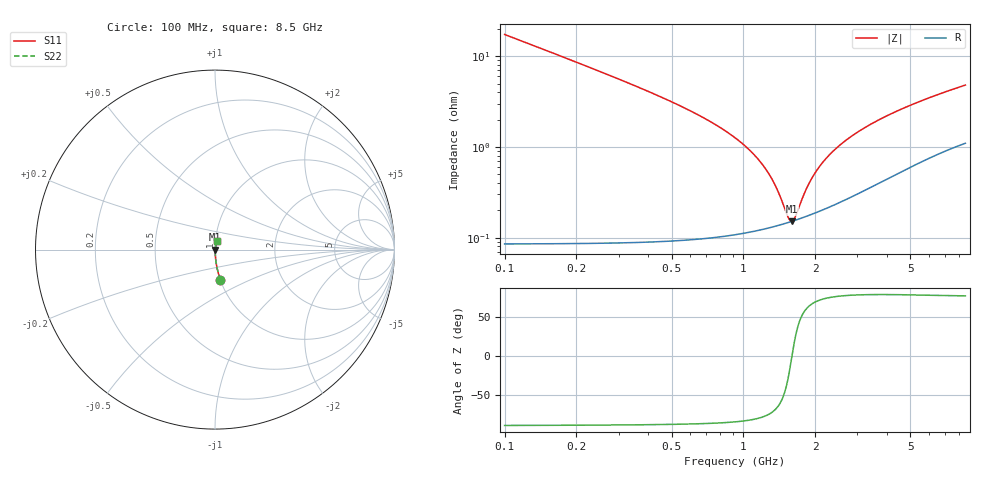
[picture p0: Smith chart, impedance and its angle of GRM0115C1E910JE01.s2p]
!Murata Part Number: GRM0115C1E910JE01
!These Parameters are Measured in Series Mode Connection
!Data Generated on Mar 30, 2021
!  o--ll--o
!Port1  Port2
!  o------o
!Operation Temp=25[degC], DC Bias Voltage=0[V]
!Freq. Start=100[MHz] Stop=9[GHz] 401[Steps]
# Hz S RI R 50
!Freq.(Hz) S11(Real) S11(Imag) S21(Real) S21(Imag) S12(Real) S12(Imag) S22(Real) S22(Imag)
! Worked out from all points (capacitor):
!   401 points, 100 MHz to 8.5 GHz, reference 50 ohm
!   read as one part in series: C = 91 pF near 142 MHz
!   lowest |Z| = 151 mohm at 1.591 GHz (marker M1)
!   series resonance near 1.598 GHz, so ESL is about 110 pH
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1e8  0.0302 -0.1688  0.9698 0.1688  0.9698 0.1688  0.0302 -0.1688
2.26e8  0.00656 -0.0753  0.9934 0.0753  0.9934 0.0753  0.00656 -0.0753
3.52e8  0.0031 -0.0471  0.9969 0.0471  0.9969 0.0471  0.0031 -0.0471
5.41e8  0.00174 -0.0285  0.9983 0.0285  0.9983 0.0285  0.00174 -0.0285
9.82e8  0.00123 -0.011  0.9988 0.011  0.9988 0.011  0.00123 -0.011
1.171e9  0.00126 -0.00686  0.9987 0.00686  0.9987 0.00686  0.00126 -0.00686
1.339e9  0.00133 -0.00385  0.9987 0.00385  0.9987 0.00385  0.00133 -0.00385
1.507e9  0.00144 -0.00126  0.9986 0.00126  0.9986 0.00126  0.00144 -0.00126
1.549e9  0.00147 -0.000668  0.9985 0.000668  0.9985 0.000668  0.00147 -0.000668
1.591e9  0.00151 -9.01e-05  0.9985 9.01e-05  0.9985 9.01e-05  0.00151 -9.01e-05
1.654e9  0.00156 0.000748  0.9984 -0.000748  0.9984 -0.000748  0.00156 0.000748
1.78e9  0.00167 0.00233  0.9983 -0.00233  0.9983 -0.00233  0.00167 0.00233
1.885e9  0.00177 0.00357  0.9982 -0.00357  0.9982 -0.00357  0.00177 0.00357
2.095e9  0.002 0.00588  0.998 -0.00588  0.998 -0.00588  0.002 0.00588
2.242e9  0.00217 0.00738  0.9978 -0.00738  0.9978 -0.00738  0.00217 0.00738
2.431e9  0.00241 0.0092  0.9976 -0.0092  0.9976 -0.0092  0.00241 0.0092
2.914e9  0.00309 0.0134  0.9969 -0.0134  0.9969 -0.0134  0.00309 0.0134
3.523e9  0.00406 0.0181  0.9959 -0.0181  0.9959 -0.0181  0.00406 0.0181
4.3e9  0.00542 0.0235  0.9946 -0.0235  0.9946 -0.0235  0.00542 0.0235
5.707e9  0.00805 0.032  0.9919 -0.032  0.9919 -0.032  0.00805 0.032
7.114e9  0.0106 0.0393  0.9894 -0.0393  0.9894 -0.0393  0.0106 0.0393
8.5e9  0.013 0.0458  0.987 -0.0458  0.987 -0.0458  0.013 0.0458
